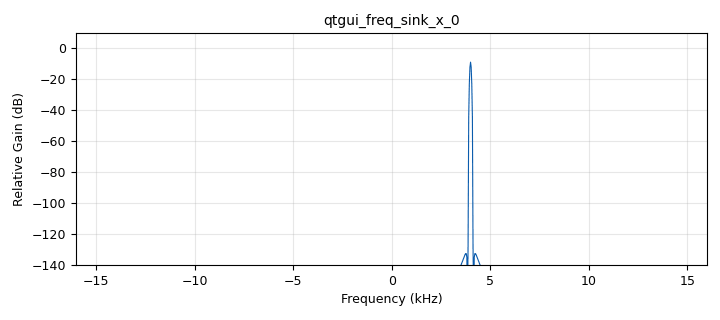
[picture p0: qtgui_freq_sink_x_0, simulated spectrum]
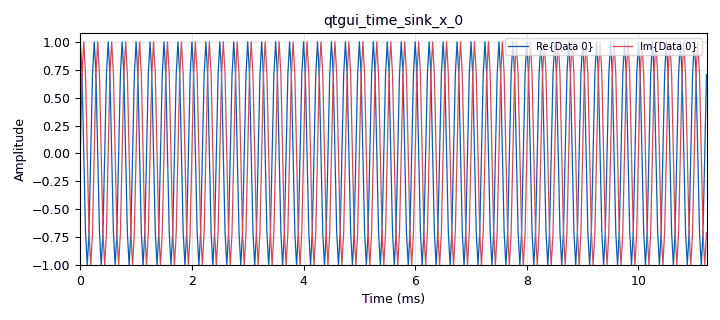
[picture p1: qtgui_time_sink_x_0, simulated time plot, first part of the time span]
options:
  parameters:
    generate_options: qt_gui
    id: Python_Block
    output_language: python
    title: Not titled yet
  states: {}

blocks:
- name: Operation
  id: variable_qtgui_chooser
  parameters:
    label0: Multiply
    label1: Add
    num_opts: '2'
    option1: '1'
    type: int
    value: '0'
  states: {}
- name: samp_rate
  id: variable
  parameters:
    value: '32000'
  states: {}
- name: analog_sig_source_x_0
  id: analog_sig_source_x
  parameters:
    amp: '1'
    freq: '1000'
    offset: '0'
    phase: '0'
    samp_rate: samp_rate
    type: complex
    waveform: analog.GR_COS_WAVE
  states: {}
- name: analog_sig_source_x_0_0
  id: analog_sig_source_x
  parameters:
    amp: '1'
    freq: '3000'
    offset: '0'
    phase: '0'
    samp_rate: samp_rate
    type: complex
    waveform: analog.GR_COS_WAVE
  states: {}
- name: blocks_throttle_0
  id: blocks_throttle
  parameters:
    samples_per_second: samp_rate
    type: complex
  states: {}
- name: epy_block_0
  id: epy_block
  parameters:
    _source_code: |
      """
      Embedded Python Blocks:

      Each time this file is saved, GRC will instantiate the first class it finds
      to get ports and parameters of your block. The arguments to __init__  will
      be the parameters. All of them are required to have default values!
      """

      import numpy as np
      from gnuradio import gr


      class blk(gr.sync_block):  # other base classes are basic_block, decim_block, interp_block
          """Embedded Python Block example - a simple multiply const"""

          def __init__(self, additionFlag=1.0):  # only default arguments here
              """arguments to this function show up as parameters in GRC"""
              gr.sync_block.__init__(
                  self,
                  name='Primesh Python Block',   # will show up in GRC
                  in_sig=[np.complex64,np.complex64],
                  out_sig=[np.complex64]
              )
              # if an attribute with the same name as a parameter is found,
              # a callback is registered (properties work, too).
              self.additionFlag = additionFlag

          def work(self, input_items, output_items):
              """example: multiply with constant"""
              #output_items[0][:] = input_items[0] * self.additionFlag
              if (self.additionFlag == True):
                  output_items[0][:] = input_items[0] + input_items[1]
              
              else:
                  output_items[0][:] = input_items[0] * input_items[1]
              return len(output_items[0])
    additionFlag: Operation
  states: {}
- name: qtgui_freq_sink_x_0
  id: qtgui_freq_sink_x
  parameters:
    bw: samp_rate
    fc: '0'
    fftsize: '1024'
    type: complex
    wintype: firdes.WIN_BLACKMAN_hARRIS
  states: {}
- name: qtgui_time_sink_x_0
  id: qtgui_time_sink_x
  parameters:
    size: '1024'
    srate: samp_rate
    type: complex
  states: {}

connections:
- [analog_sig_source_x_0, '0', epy_block_0, '0']
- [analog_sig_source_x_0_0, '0', epy_block_0, '1']
- [blocks_throttle_0, '0', qtgui_freq_sink_x_0, '0']
- [blocks_throttle_0, '0', qtgui_time_sink_x_0, '0']
- [epy_block_0, '0', blocks_throttle_0, '0']

metadata:
  file_format: 1
